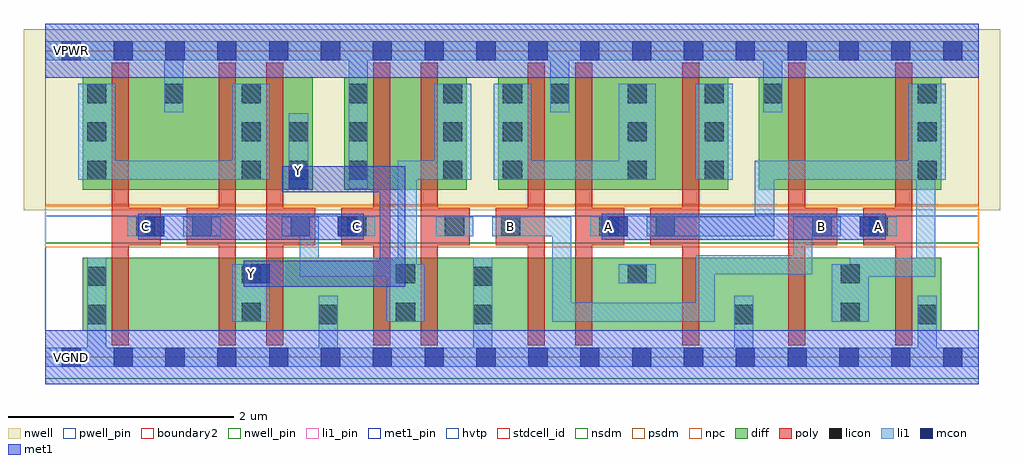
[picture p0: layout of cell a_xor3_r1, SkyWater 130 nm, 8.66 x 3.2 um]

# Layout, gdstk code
import gdstk
lib = gdstk.Library(unit=1e-6, precision=1e-09)
def R(c, l, rs):  # rectangles x0, y0, x1, y1
    for r in rs: c.add(gdstk.rectangle(r[:2], r[2:], *l))
def A(c, l, x, y, w, h, nx, ny, dx, dy):  # array of equal rectangles
    R(c, l, [(x+i*dx, y+j*dy, x+i*dx+w, y+j*dy+h) for i in range(nx) for j in range(ny)])
nwell_pin = (64, 16)
nwell = (64, 20)
diff = (65, 20)
poly = (66, 20)
licon = (66, 44)
li1_pin = (67, 16)
li1 = (67, 20)
mcon = (67, 44)
met1_pin = (68, 16)
met1 = (68, 20)
hvtp = (78, 44)
stdcell_id = (81, 4)
nsdm = (93, 44)
psdm = (94, 20)
npc = (95, 20)
pwell_pin = (122, 16)
boundary2 = (236, 0)

a_xor3_r1 = lib.new_cell('a_xor3_r1')
R(a_xor3_r1, nwell_pin, [(0.145,2.635,0.315,2.805)])
R(a_xor3_r1, nwell, [(-0.19,1.305,8.47,2.91)])
A(a_xor3_r1, diff, 1.14, 0.235, 0.685, 0.65, 6, 1, 0.685, 0)
R(a_xor3_r1, diff, [(0.33,0.235,1.14,0.885), (5.25,0.235,6.195,0.885), (6.195,0.235,7.14,0.885), (7.14,0.235,7.95,0.885), (0.33,1.485,1.14,2.485), (1.14,1.485,1.825,2.485), (1.825,1.485,2.37,2.485), (2.65,1.485,3.195,2.485), (3.195,1.485,3.74,2.485), (4.02,1.485,4.565,2.485), (4.565,1.485,5.25,2.485), (5.25,1.485,6.06,2.485), (6.33,1.485,7.14,2.485), (7.14,1.485,7.95,2.485)])
R(a_xor3_r1, poly, [(0.59,0.105,0.74,2.615), (1.54,0.105,1.69,2.615), (1.96,0.105,2.11,2.615), (2.91,0.105,3.06,2.615), (3.33,0.105,3.48,2.615), (4.28,0.105,4.43,2.615), (4.7,0.105,4.85,2.615), (5.65,0.105,5.8,2.615), (6.59,0.105,6.74,2.615), (7.54,0.105,7.69,2.615), (0.59,0.995,1.025,1.325), (1.255,0.995,1.69,1.325), (1.96,0.995,2.395,1.325), (2.625,0.995,3.06,1.325), (3.33,0.995,3.765,1.325), (3.995,0.995,4.43,1.325), (4.7,0.995,5.135,1.325), (5.365,0.995,5.8,1.325), (6.59,0.995,7.025,1.325), (7.255,0.995,7.69,1.325)])
A(a_xor3_r1, licon, 2.69, 1.575, 0.17, 0.17, 1, 3, 0, 0.34)
A(a_xor3_r1, licon, 3.53, 1.575, 0.17, 0.17, 1, 3, 0, 0.34)
A(a_xor3_r1, licon, 4.06, 1.575, 0.17, 0.17, 1, 3, 0, 0.34)
A(a_xor3_r1, licon, 7.74, 1.575, 0.17, 0.17, 1, 3, 0, 0.34)
A(a_xor3_r1, licon, 0.37, 2.255, 0.17, 0.17, 3, 1, 0.685, 0)
A(a_xor3_r1, licon, 4.48, 2.255, 0.17, 0.17, 3, 1, 0.685, 0)
R(a_xor3_r1, licon, [(0.37,0.295,0.54,0.465), (2.425,0.295,2.595,0.465), (3.795,0.295,3.965,0.465), (6.11,0.295,6.28,0.465), (7.74,0.295,7.91,0.465), (1.74,0.315,1.91,0.485), (3.11,0.315,3.28,0.485), (7.055,0.315,7.225,0.485), (0.37,0.635,0.54,0.805), (3.795,0.635,3.965,0.805), (1.74,0.655,1.91,0.825), (3.11,0.655,3.28,0.825), (5.165,0.655,5.335,0.825), (7.055,0.655,7.225,0.825), (0.805,1.075,0.975,1.245), (1.305,1.075,1.475,1.245), (2.175,1.075,2.345,1.245), (2.675,1.075,2.845,1.245), (3.545,1.075,3.715,1.245), (4.045,1.075,4.215,1.245), (4.915,1.075,5.085,1.245), (5.415,1.075,5.585,1.245), (6.805,1.075,6.975,1.245), (7.305,1.075,7.475,1.245), (0.37,1.575,0.54,1.745), (1.74,1.575,1.91,1.745), (2.16,1.575,2.33,1.745), (5.165,1.575,5.335,1.745), (5.85,1.575,6.02,1.745), (0.37,1.915,0.54,2.085), (1.74,1.915,1.91,2.085), (2.16,1.915,2.33,2.085), (5.165,1.915,5.335,2.085), (5.85,1.915,6.02,2.085), (6.37,2.255,6.54,2.425)])
R(a_xor3_r1, li1_pin, [(1.74,0.655,1.91,0.825), (0.805,1.075,0.975,1.245), (2.675,1.075,2.845,1.245), (4.045,1.075,4.215,1.245), (4.915,1.075,5.085,1.245), (6.805,1.075,6.975,1.245), (7.305,1.075,7.475,1.245), (2.16,1.575,2.33,1.745)])
R(a_xor3_r1, li1, [(0,-0.085,8.28,0.085), (0.37,-0.085,0.54,0.545), (2.425,-0.085,2.595,0.545), (3.795,-0.085,3.965,0.545), (6.11,-0.085,6.28,0.545), (7.74,-0.085,7.91,0.545), (0.37,0.295,0.54,0.885), (3.795,0.295,3.965,0.885), (1.66,0.315,1.99,0.825), (3.03,0.315,3.36,0.825), (4.495,0.315,4.665,1.245), (4.495,0.315,5.94,0.485), (5.77,0.315,5.94,0.905), (6.975,0.315,7.305,0.825), (1.66,0.655,1.99,0.825), (3.03,0.655,3.36,0.825), (3.03,0.655,3.2,0.885), (3.125,0.655,3.295,1.745), (5.085,0.655,5.415,0.825), (6.975,0.655,7.305,0.825), (7.135,0.655,7.305,0.885), (2.255,0.715,2.425,1.245), (2.255,0.715,3.2,0.885), (7.135,0.715,7.895,0.885), (7.725,0.715,7.895,1.745), (5.77,0.735,6.805,0.905), (6.635,0.735,6.805,1.245), (0.725,1.075,1.055,1.245), (1.225,1.075,1.555,1.245), (2.095,1.075,2.425,1.245), (2.595,1.075,2.925,1.245), (3.465,1.075,3.795,1.245), (3.965,1.075,4.295,1.245), (4.125,1.075,4.665,1.245), (4.835,1.075,5.165,1.245), (5.335,1.075,5.665,1.245), (5.495,1.075,6.465,1.245), (6.295,1.075,6.465,1.745), (6.635,1.075,6.895,1.245), (6.725,1.075,7.055,1.245), (7.225,1.075,7.555,1.245), (2.16,1.495,2.33,1.825), (2.69,1.495,2.86,2.085), (0.29,1.575,0.62,1.745), (0.29,1.575,0.62,2.085), (0.45,1.575,1.83,1.745), (1.66,1.575,1.99,1.745), (1.66,1.575,1.99,2.085), (2.16,1.575,2.33,2.165), (3.125,1.575,3.62,1.745), (3.295,1.575,3.45,1.745), (3.295,1.575,3.45,1.745), (3.295,1.575,3.45,1.745), (3.295,1.575,3.45,1.745), (3.295,1.575,3.45,1.745), (3.295,1.575,3.45,1.745), (3.295,1.575,3.45,1.745), (3.295,1.575,3.45,1.745), (3.45,1.575,3.78,1.745), (3.45,1.575,3.78,2.085), (3.98,1.575,4.31,1.745), (3.98,1.575,4.31,2.085), (4.14,1.575,5.255,1.745), (5.085,1.575,5.415,1.745), (5.085,1.575,5.415,2.085), (5.77,1.575,6.1,1.745), (5.77,1.575,6.1,2.085), (6.295,1.575,7.83,1.745), (7.66,1.575,7.99,1.745), (7.66,1.575,7.99,2.085), (2.69,1.835,2.86,2.425), (0.29,1.915,0.62,2.425), (1.66,1.915,1.99,2.425), (3.45,1.915,3.78,2.425), (3.98,1.915,4.31,2.425), (5.085,1.915,5.415,2.425), (5.77,1.915,6.1,2.425), (7.66,1.915,7.99,2.425), (2.69,2.085,2.86,2.175), (2.69,2.085,2.86,2.175), (2.69,2.085,2.86,2.175), (2.69,2.085,2.86,2.175), (1.055,2.175,1.225,2.805), (2.69,2.175,2.86,2.805), (4.48,2.175,4.65,2.805), (6.37,2.175,6.54,2.805), (0,2.635,8.28,2.805)])
A(a_xor3_r1, mcon, 0.145, -0.085, 0.17, 0.17, 18, 2, 0.46, 2.72)
R(a_xor3_r1, mcon, [(1.82,0.655,1.99,0.825), (0.885,1.075,1.055,1.245), (2.595,1.075,2.765,1.245), (4.995,1.075,5.165,1.245), (7.225,1.075,7.395,1.245), (2.16,1.495,2.33,1.665)])
R(a_xor3_r1, met1_pin, [(0.145,-0.085,0.315,0.085), (0.145,2.635,0.315,2.805)])
R(a_xor3_r1, met1, [(0,-0.24,8.28,0.24), (1.76,0.625,2.05,0.855), (1.79,0.625,3.195,0.855), (2.965,0.625,3.195,1.695), (0.825,1.045,1.115,1.275), (0.855,1.045,2.795,1.275), (2.535,1.045,2.825,1.275), (4.935,1.045,5.225,1.275), (4.965,1.045,7.425,1.275), (7.165,1.045,7.455,1.275), (2.1,1.465,2.39,1.695), (2.13,1.465,3.195,1.695), (0,2.48,8.28,2.96)])
R(a_xor3_r1, hvtp, [(0,1.25,8.28,2.72)])
R(a_xor3_r1, stdcell_id, [(0,0,8.28,2.72)])
R(a_xor3_r1, nsdm, [(0,-0.19,8.28,1.015)])
R(a_xor3_r1, psdm, [(0,1.355,8.28,2.91)])
R(a_xor3_r1, npc, [(0,0.975,8.28,1.345)])
R(a_xor3_r1, pwell_pin, [(0.145,-0.085,0.315,0.085)])
R(a_xor3_r1, boundary2, [(0,0,8.28,2.72)])
a_xor3_r1.add(gdstk.Label('A', (5,1.16), layer=67, texttype=5))
a_xor3_r1.add(gdstk.Label('A', (7.39,1.16), layer=67, texttype=5))
a_xor3_r1.add(gdstk.Label('B', (4.13,1.16), layer=67, texttype=5))
a_xor3_r1.add(gdstk.Label('B', (6.89,1.16), layer=67, texttype=5))
a_xor3_r1.add(gdstk.Label('C', (0.89,1.16), layer=67, texttype=5))
a_xor3_r1.add(gdstk.Label('C', (2.76,1.16), layer=67, texttype=5))
a_xor3_r1.add(gdstk.Label('Y', (1.825,0.74), layer=67, texttype=5))
a_xor3_r1.add(gdstk.Label('Y', (2.245,1.66), layer=67, texttype=5))
a_xor3_r1.add(gdstk.Label('VGND', (0.23,0), layer=68, texttype=5))
a_xor3_r1.add(gdstk.Label('VPWR', (0.23,2.72), layer=68, texttype=5))
a_xor3_r1.add(gdstk.Label('VPB', (0.23,2.72), layer=64, texttype=5))
a_xor3_r1.add(gdstk.Label('VNB', (0.23,0), layer=64, texttype=59))

lib.write_gds('a_xor3_r1.gds')
